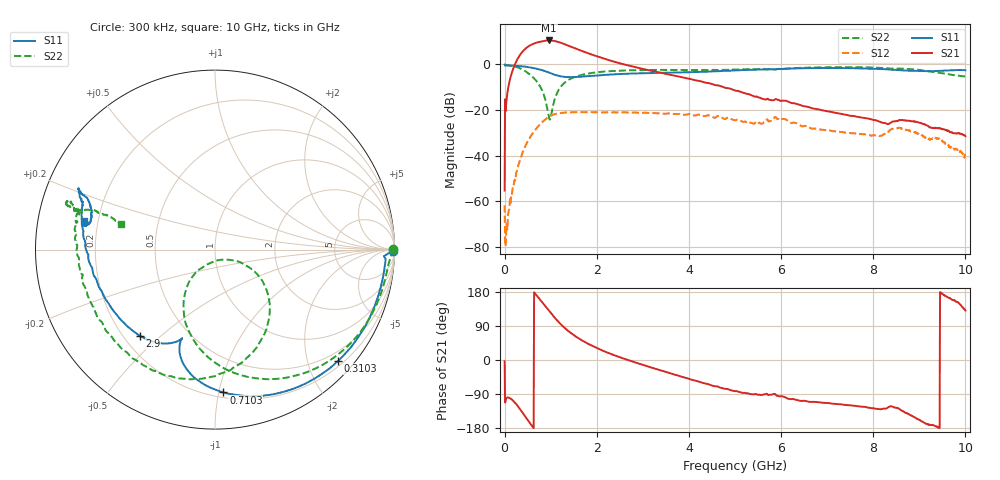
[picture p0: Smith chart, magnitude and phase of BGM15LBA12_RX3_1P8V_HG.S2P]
!Agilent Technologies,E5071C,MY46316587,B.13.01
!Date: Thu Dec 07 14:07:14 2017
!Data & Calibration Information:
!Freq	S11:SOLT2(ON)	S21:SOLT2(ON)	S12:SOLT2(ON)	S22:SOLT2(ON)
!PortZ  Port1:50+j0  Port2:50+j0
!Above PortZ is port z conversion or system Z0 setting when saving the data.
!When reading, reference impedance value at option line is always used.
# Hz S dB R 50
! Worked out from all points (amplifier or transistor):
!   1001 points, 300 kHz to 10 GHz, reference 50 ohm
!   highest |S21| = 10.5 dB at 970.3 MHz (marker M1)
!   |S21| within 3 dB of that: 488.9 MHz to 1.473 GHz (984.2 MHz wide, 100 % of centre)
!   unconditionally stable (mu >= 1): start of sweep to end of sweep
!   at 1.66 GHz: K = 1.42, MAG = 9.7 dB, |S12| = -21.0 dB
!   at 5 GHz: K = 6.10, MAG = -4.3 dB, |S12| = -24.5 dB
!   at 10 GHz: K = 577.35, MAG = -26.4 dB, |S12| = -39.9 dB
!   lowest NFmin = 1.05 dB at 750 MHz
!   S11 on the Smith chart (normalised r, x): 300 kHz: open; 310.3 MHz: 0.30, -2.56; 710.3 MHz: 0.24, -1.03; 2.9 GHz: 0.27, -0.43; 10 GHz: 0.15, +0.11
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300000  -0.08 -0.3  -55.34 -3.4  -61.87 -5.1  -0.07 0.1
6.02982e7  -0.45 -8.7  -12.55 -99.0  -72.41 99.1  -0.35 -11.4
1.902943e8  -0.54 -26.4  -1.68 -108.1  -53.99 156.9  -0.75 -34.7
3.102907e8  -0.68 -42.2  3.40 -125.5  -43.55 159.8  -1.50 -55.8
4.00288e8  -0.86 -53.6  5.86 -140.9  -38.17 152.0  -2.38 -70.9
4.802856e8  -1.08 -63.0  7.38 -154.6  -34.59 144.6  -3.37 -83.6
5.902823e8  -1.46 -75.0  8.75 -173.3  -30.84 132.5  -5.15 -99.4
7.102787e8  -1.97 -86.7  9.67 168.2  -27.58 120.2  -7.83 -115.2
8.502745e8  -2.74 -98.2  10.30 147.7  -24.72 104.4  -13.26 -129.5
9.702709e8  -3.63 -105.6  10.52 129.3  -22.89 89.7  -23.75 -92.0
1.120266e9  -4.75 -110.0  10.10 107.2  -21.66 72.1  -13.47 -27.4
1.32026e9  -5.50 -110.5  8.74 82.8  -21.11 54.1  -7.73 -42.9
1.480256e9  -5.56 -110.4  7.46 67.4  -20.98 43.8  -5.86 -54.9
1.67025e9  -5.36 -111.2  5.98 52.4  -20.94 34.1  -4.57 -66.5
2.190234e9  -4.58 -117.5  2.33 21.6  -21.03 15.8  -3.04 -89.7
2.900213e9  -3.93 -131.0  -1.51 -8.9  -21.22 -2.9  -2.45 -112.0
3.3402e9  -3.71 -141.8  -3.45 -25.6  -21.47 -12.9  -2.42 -125.3
5.00015e9  -2.61 172.9  -11.42 -82.1  -24.54 -44.9  -2.29 179.2
6.6701e9  -1.63 156.1  -19.22 -110.6  -28.16 -66.5  -1.37 161.4
8.34005e9  -2.22 157.8  -26.07 -123.5  -29.29 -51.7  -1.76 163.7
9.390018e9  -2.87 168.6  -28.01 -175.9  -32.27 -118.0  -3.53 162.4
1e10  -2.56 167.7  -31.45 130.5  -39.85 134.5  -5.32 164.5
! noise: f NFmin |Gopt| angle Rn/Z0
6.5e+08  1.157  0.4874  62.58  0.33
7e+08  1.065  0.5127  67.8  0.2717
7.5e+08  1.052  0.5208  69.96  0.2308
8e+08  1.09  0.5361  73.47  0.2307
8.5e+08  1.087  0.5158  75.61  0.2187
9e+08  1.11  0.5219  79.87  0.2222
9.5e+08  1.145  0.5558  80.13  0.2446
1e+09  1.163  0.472  82.64  0.2066
